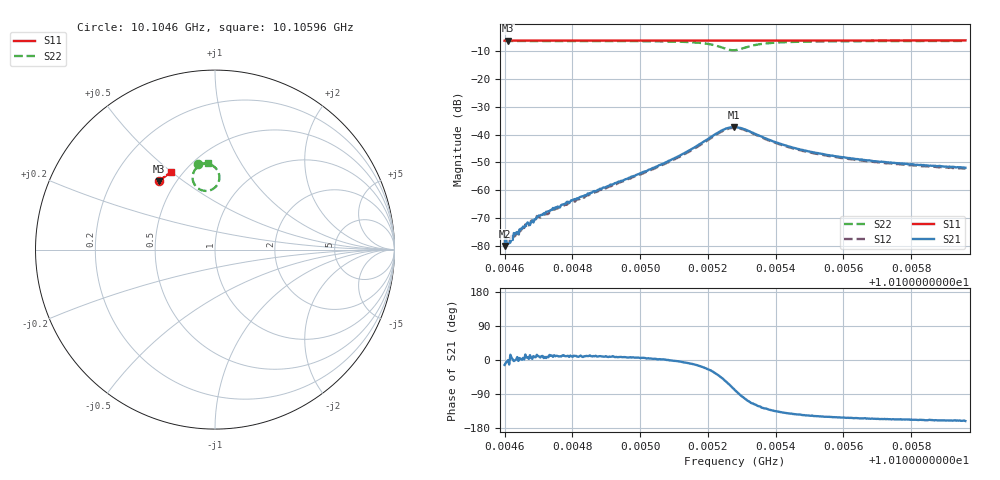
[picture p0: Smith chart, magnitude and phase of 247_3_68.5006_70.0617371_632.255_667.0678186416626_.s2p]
#  HZ  S  RI  R  50.00
! Rohde & Schwarz Vector Network Analyzer
! Rohde-Schwarz,ZNB20-2Port,1311601062101988,3.16
! Created: UTC 3/20/2024, 5:14:49 PM
! freq[Hz]  re:S11  im:S11  re:S21  im:S21  re:S12  im:S12  re:S22  im:S22
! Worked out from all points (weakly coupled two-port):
!   401 points, 10.1046 GHz to 10.10596 GHz, reference 50 ohm
!   highest |S21| = -37.24 dB at 10.10528 GHz (marker M1); lowest = -80.1 dB at 10.1046 GHz (marker M2)
!   lowest |S11| = -6.2 dB at 10.10461 GHz (marker M3), VSWR 2.94, Z = 20.3 + j20.4 ohm
!   |S11| at or under -10 dB: nowhere
!   |S22| runs from -9.6 to -6.3 dB; largest |S21 - S12| = 0.0016
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1.01046e10  -0.3128 0.3802  9.63e-05 -2.23e-05  0.000129 -4.78e-06  -0.0951 0.475
1.010461e10  -0.3124 0.3804  0.000109 -5.87e-07  0.000108 1.09e-05  -0.0942 0.4753
1.0104617e10  -0.3121 0.3809  0.000111 2.76e-05  0.000139 4.69e-06  -0.0936 0.4754
1.0104624e10  -0.3119 0.3811  0.000127 4.05e-06  0.00013 1.3e-05  -0.0931 0.4757
1.010463e10  -0.3116 0.3814  0.000161 -2.34e-06  0.000148 1.5e-05  -0.0925 0.4757
1.0104661e10  -0.3101 0.3827  0.000216 5.56e-05  0.000235 5.7e-05  -0.0899 0.4761
1.0104678e10  -0.3093 0.3833  0.000267 2.66e-05  0.000269 8.43e-05  -0.0884 0.4765
1.0104702e10  -0.3082 0.3843  0.000347 5.62e-05  0.000321 7.78e-05  -0.0862 0.4768
1.0104828e10  -0.3023 0.3893  0.000763 0.000123  0.000723 0.000172  -0.0733 0.4787
1.0105056e10  -0.2913 0.3982  0.00281 0.00011  0.00265 0.000327  -0.0366 0.4769
1.0105141e10  -0.2872 0.4013  0.00499 -0.000691  0.0048 -0.000182  -0.00843 0.4646
1.0105222e10  -0.2831 0.404  0.00836 -0.00588  0.0085 -0.0047  0.0248 0.4016
1.0105253e10  -0.2814 0.4047  0.00714 -0.0107  0.00793 -0.00935  0.00426 0.3504
1.0105277e10  -0.2807 0.4054  0.00326 -0.0133  0.00444 -0.0124  -0.044 0.3271
1.010528e10  -0.2805 0.4054  0.00245 -0.0134  0.00375 -0.0126  -0.052 0.3269
1.0105304e10  -0.2797 0.4062  -0.00177 -0.0126  -0.000681 -0.0124  -0.0988 0.3448
1.0105338e10  -0.2783 0.4077  -0.00476 -0.00923  -0.00386 -0.00941  -0.124 0.3893
1.010542e10  -0.2745 0.411  -0.00497 -0.0044  -0.00439 -0.0047  -0.1107 0.446
1.0105508e10  -0.2701 0.4143  -0.00407 -0.00267  -0.00369 -0.00288  -0.0911 0.4653
1.0105617e10  -0.2645 0.4181  -0.00337 -0.00173  -0.00306 -0.00194  -0.0739 0.4746
1.0105736e10  -0.2585 0.4223  -0.00286 -0.00127  -0.00266 -0.00146  -0.0601 0.4793
1.010596e10  -0.2471 0.4297  -0.0024 -0.000827  -0.00223 -0.00101  -0.0395 0.4839
